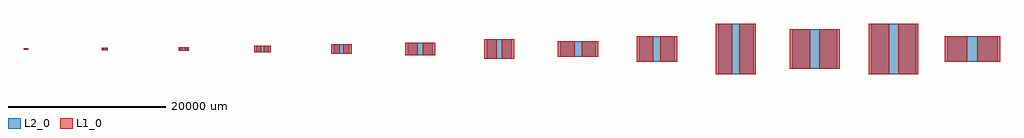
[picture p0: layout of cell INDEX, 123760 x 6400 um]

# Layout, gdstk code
import gdstk
lib = gdstk.Library(unit=1e-6, precision=1e-09)
def R(c, l, rs):  # rectangles x0, y0, x1, y1
    for r in rs: c.add(gdstk.rectangle(r[:2], r[2:], *l))
L1_0 = (1, 0)
L2_0 = (2, 0)

cap_01005 = lib.new_cell('CAP-01005')
R(cap_01005, L1_0, [(-260,-100,-40,100), (40,-100,260,100)])
R(cap_01005, L2_0, [(-200,-100,200,100)])
cap_01005.add(gdstk.Label('CAP-01005', (0,700), layer=3, texttype=0))

cap_0201 = lib.new_cell('CAP-0201')
R(cap_0201, L1_0, [(-390,-150,-60,150), (60,-150,390,150)])
R(cap_0201, L2_0, [(-300,-150,300,150)])
cap_0201.add(gdstk.Label('CAP-0201', (0,750), layer=3, texttype=0))

cap_0402 = lib.new_cell('CAP-0402')
R(cap_0402, L1_0, [(-650,-250,-100,250), (100,-250,650,250)])
R(cap_0402, L2_0, [(-500,-250,500,250)])
cap_0402.add(gdstk.Label('CAP-0402', (0,850), layer=3, texttype=0))

cap_0603 = lib.new_cell('CAP-0603')
R(cap_0603, L1_0, [(-1040,-400,-160,400), (160,-400,1040,400)])
R(cap_0603, L2_0, [(-800,-400,800,400)])
cap_0603.add(gdstk.Label('CAP-0603', (0,1000), layer=3, texttype=0))

cap_0805 = lib.new_cell('CAP-0805')
R(cap_0805, L1_0, [(-1300,-625,-200,625), (200,-625,1300,625)])
R(cap_0805, L2_0, [(-1000,-625,1000,625)])
cap_0805.add(gdstk.Label('CAP-0805', (0,1225), layer=3, texttype=0))

cap_1206 = lib.new_cell('CAP-1206')
R(cap_1206, L1_0, [(-1900,-800,-320,800), (320,-800,1900,800)])
R(cap_1206, L2_0, [(-1600,-800,1600,800)])
cap_1206.add(gdstk.Label('CAP-1206', (0,1400), layer=3, texttype=0))

cap_1210 = lib.new_cell('CAP-1210')
R(cap_1210, L1_0, [(-1900,-1250,-320,1250), (320,-1250,1900,1250)])
R(cap_1210, L2_0, [(-1600,-1250,1600,1250)])
cap_1210.add(gdstk.Label('CAP-1210', (0,1850), layer=3, texttype=0))

cap_1808 = lib.new_cell('CAP-1808')
R(cap_1808, L1_0, [(-2550,-1000,-450,1000), (450,-1000,2550,1000)])
R(cap_1808, L2_0, [(-2250,-1000,2250,1000)])
cap_1808.add(gdstk.Label('CAP-1808', (0,1600), layer=3, texttype=0))

cap_1812 = lib.new_cell('CAP-1812')
R(cap_1812, L1_0, [(-2550,-1600,-450,1600), (450,-1600,2550,1600)])
R(cap_1812, L2_0, [(-2250,-1600,2250,1600)])
cap_1812.add(gdstk.Label('CAP-1812', (0,2200), layer=3, texttype=0))

cap_1825 = lib.new_cell('CAP-1825')
R(cap_1825, L1_0, [(-2550,-3200,-450,3200), (450,-3200,2550,3200)])
R(cap_1825, L2_0, [(-2250,-3200,2250,3200)])
cap_1825.add(gdstk.Label('CAP-1825', (0,3800), layer=3, texttype=0))

cap_2220 = lib.new_cell('CAP-2220')
R(cap_2220, L1_0, [(-3150,-2500,-570,2500), (570,-2500,3150,2500)])
R(cap_2220, L2_0, [(-2850,-2500,2850,2500)])
cap_2220.add(gdstk.Label('CAP-2220', (0,3100), layer=3, texttype=0))

cap_2225 = lib.new_cell('CAP-2225')
R(cap_2225, L1_0, [(-3150,-3200,-570,3200), (570,-3200,3150,3200)])
R(cap_2225, L2_0, [(-2850,-3200,2850,3200)])
cap_2225.add(gdstk.Label('CAP-2225', (0,3800), layer=3, texttype=0))

cap_2512 = lib.new_cell('CAP-2512')
R(cap_2512, L1_0, [(-3500,-1600,-640,1600), (640,-1600,3500,1600)])
R(cap_2512, L2_0, [(-3200,-1600,3200,1600)])
cap_2512.add(gdstk.Label('CAP-2512', (0,2200), layer=3, texttype=0))

index = lib.new_cell('INDEX')
index.add(gdstk.Reference(cap_01005, (0,0)))
index.add(gdstk.Reference(cap_0201, (10000,0)))
index.add(gdstk.Reference(cap_0402, (20000,0)))
index.add(gdstk.Reference(cap_0603, (30000,0)))
index.add(gdstk.Reference(cap_0805, (40000,0)))
index.add(gdstk.Reference(cap_1206, (50000,0)))
index.add(gdstk.Reference(cap_1210, (60000,0)))
index.add(gdstk.Reference(cap_1808, (70000,0)))
index.add(gdstk.Reference(cap_1812, (80000,0)))
index.add(gdstk.Reference(cap_1825, (90000,0)))
index.add(gdstk.Reference(cap_2220, (100000,0)))
index.add(gdstk.Reference(cap_2225, (110000,0)))
index.add(gdstk.Reference(cap_2512, (120000,0)))

lib.write_gds('INDEX.gds')
